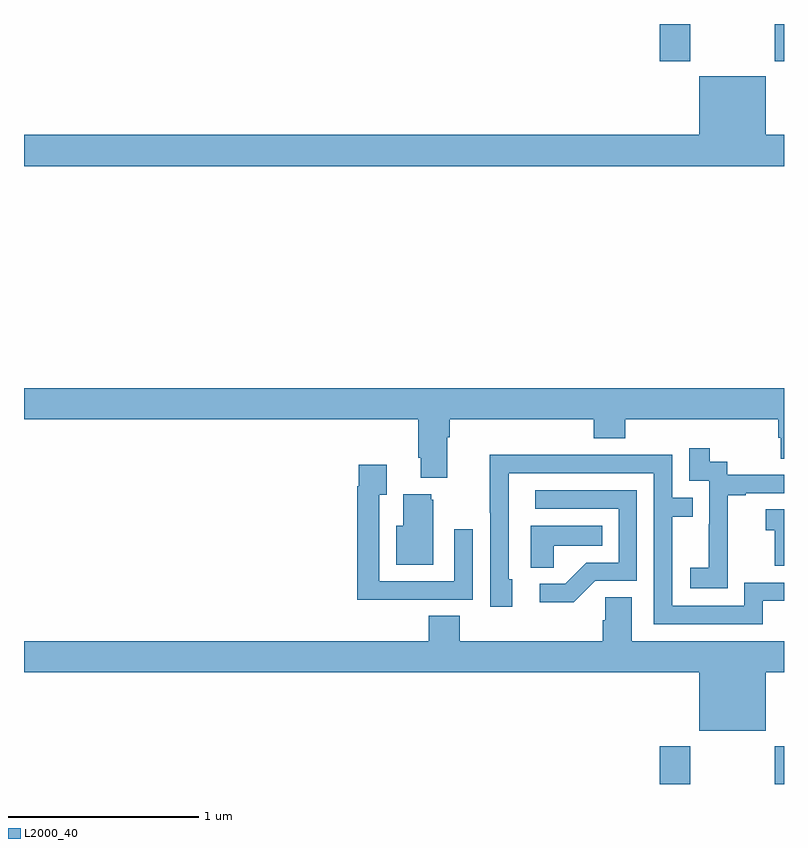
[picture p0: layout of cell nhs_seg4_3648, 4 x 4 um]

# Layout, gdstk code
import gdstk
lib = gdstk.Library(unit=1e-6, precision=1e-09)
def R(c, l, rs):  # rectangles x0, y0, x1, y1
    for r in rs: c.add(gdstk.rectangle(r[:2], r[2:], *l))
def P(c, l, *ps):  # polygons
    for p in ps: c.add(gdstk.Polygon(p, *l))
L2000_40 = (2000, 40)

nhs_seg4_3648 = lib.new_cell('nhs_seg4_3648')
R(nhs_seg4_3648, L2000_40, [(306.347,794.9,306.507,795.1), (306.952,794.9,307,795.1), (306.347,798.705,306.507,798.9), (306.952,798.705,307,798.9)])
P(nhs_seg4_3648, L2000_40, [(307,798.316),(306.904,798.316),(306.904,798.625),(306.554,798.625),(306.554,798.316),(303,798.316),(303,798.152),(307,798.152)],
  [(305.227,796.724),(305.24,796.724),(305.24,796.82),(305.999,796.82),(305.999,796.721),(306.164,796.721),(306.164,796.82),(306.971,796.82),(306.971,796.722),(306.983,796.722),(306.983,796.612),(307,796.612),(307,796.984),(303,796.984),(303,796.82),(305.075,796.82),(305.075,796.618),(305.087,796.618),(305.087,796.511),(305.227,796.511)],
  [(306.705,796.135),(306.704,796.135),(306.704,796.419),(306.799,796.419),(306.799,796.431),(307,796.431),(307,796.527),(306.702,796.527),(306.702,796.596),(306.61,796.596),(306.61,796.666),(306.501,796.666),(306.501,796.497),(306.606,796.497),(306.606,796.268),(306.605,796.268),(306.605,796.039),(306.507,796.039),(306.507,795.929),(306.705,795.929)],
  [(306.889,795.864),(307,795.864),(307,795.96),(306.792,795.96),(306.792,795.837),(306.411,795.837),(306.411,796.306),(306.521,796.306),(306.521,796.407),(306.411,796.407),(306.411,796.632),(305.915,796.632),(305.915,796.634),(305.452,796.634),(305.452,796.327),(305.454,796.327),(305.454,795.834),(305.569,795.834),(305.569,795.978),(305.55,795.978),(305.55,796.536),(306.315,796.536),(306.315,795.741),(306.889,795.741)],
  [(305.045,795.87),(305.361,795.87),(305.361,796.24),(305.265,796.24),(305.265,795.966),(304.869,795.966),(304.869,796.423),(304.909,796.423),(304.909,796.579),(304.761,796.579),(304.761,796.466),(304.753,796.466),(304.753,795.869),(305.045,795.869)],
  [(306.006,795.969),(306.225,795.969),(306.225,796.446),(305.691,796.446),(305.691,796.35),(306.129,796.35),(306.129,796.065),(305.96,796.065),(305.849,795.954),(305.715,795.954),(305.715,795.857),(305.893,795.857)],
  [(305.155,796.395),(305.144,796.395),(305.144,796.426),(304.997,796.426),(304.997,796.258),(304.958,796.258),(304.958,796.055),(305.155,796.055)],
  [(307,796.345),(306.903,796.345),(306.903,796.235),(306.952,796.235),(306.952,796.05),(307,796.05)],
  [(305.787,796.154),(306.044,796.154),(306.044,796.258),(305.666,796.258),(305.666,796.039),(305.787,796.039)],
  [(306.904,795.488),(307,795.488),(307,795.652),(306.199,795.652),(306.199,795.884),(306.06,795.884),(306.06,795.761),(306.047,795.761),(306.047,795.652),(305.294,795.652),(305.294,795.785),(305.129,795.785),(305.129,795.652),(303,795.652),(303,795.488),(306.554,795.488),(306.554,795.179),(306.904,795.179)])

lib.write_gds('nhs_seg4_3648.gds')
